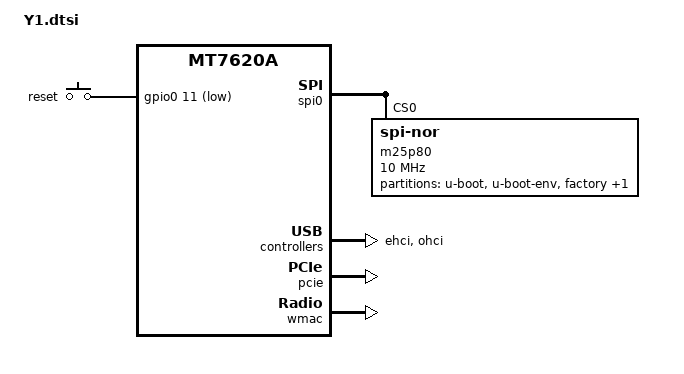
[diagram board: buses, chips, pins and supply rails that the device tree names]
#include "mt7620a.dtsi"

/ {
	chosen {
		bootargs = "console=ttyS0,115200";
	};

	gpio-keys-polled {
		compatible = "gpio-keys-polled";
		#address-cells = <1>;
		#size-cells = <0>;
		poll-interval = <20>;

		reset {
			label = "reset";
			gpios = <&gpio0 11 1>;
			linux,code = <0x198>;
		};
	};
};
	
&gpio0 {
	status = "okay";
};

&gpio2 {
	status = "okay";
};

&gpio3 {
	status = "okay";
};

&spi0 {
	status = "okay";

	m25p80@0 {
		#address-cells = <1>;
		#size-cells = <1>;
		compatible = "jedec,spi-nor";
		reg = <0>;
		linux,modalias = "m25p80", "w25q128";
		spi-max-frequency = <10000000>;

		partition@0 {
			label = "u-boot";
			reg = <0x0 0x30000>;
			read-only;
		};

		partition@30000 {
			label = "u-boot-env";
			reg = <0x30000 0x10000>;
			read-only;
		};

		factory: partition@40000 {
			label = "factory";
			reg = <0x40000 0x10000>;
			read-only;
		};

		partition@50000 {
			label = "firmware";
			reg = <0x50000 0xfb0000>;
		};
	};
};

&ehci {
	status = "okay";
};

&ohci {
	status = "okay";
};

&pcie {
	status = "okay";

	pcie-bridge {
		mt76@0,0 {
			reg = <0x0000 0 0 0 0>;
			device_type = "pci";
			mediatek,mtd-eeprom = <&factory 0x8000>;
			mediatek,2ghz = <0>;
		};
	};
};
	
&wmac {
	ralink,mtd-eeprom = <&factory 0>;
};

&pinctrl {
	state_default: pinctrl0 {
		gpio {
			ralink,group = "uartf", "wled", "nd_sd";
			ralink,function = "gpio";
		};

		pa {
			ralink,group = "pa";
			ralink,function = "pa";
		};
	};
};
